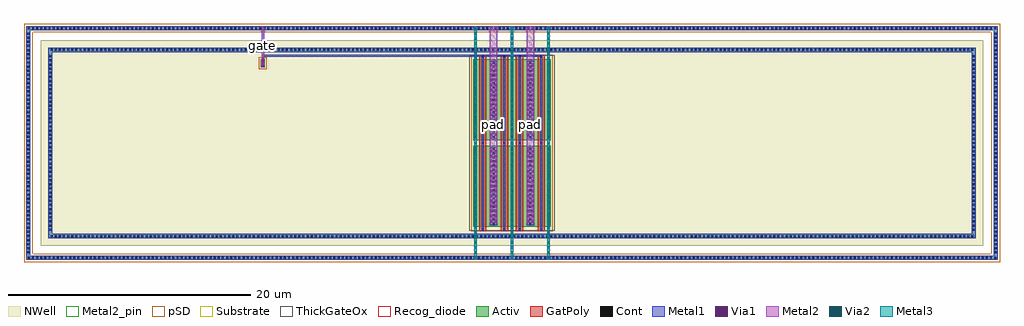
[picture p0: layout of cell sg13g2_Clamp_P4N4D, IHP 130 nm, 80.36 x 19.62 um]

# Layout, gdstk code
import gdstk
lib = gdstk.Library(unit=1e-6, precision=1e-09)
def R(c, l, rs):  # rectangles x0, y0, x1, y1
    for r in rs: c.add(gdstk.rectangle(r[:2], r[2:], *l))
def A(c, l, x, y, w, h, nx, ny, dx, dy):  # array of equal rectangles
    R(c, l, [(x+i*dx, y+j*dy, x+i*dx+w, y+j*dy+h) for i in range(nx) for j in range(ny)])
def P(c, l, *ps):  # polygons
    for p in ps: c.add(gdstk.Polygon(p, *l))
Activ = (1, 0)
GatPoly = (5, 0)
Cont = (6, 0)
Metal1 = (8, 0)
Metal2 = (10, 0)
Metal2_pin = (10, 2)
pSD = (14, 0)
Via1 = (19, 0)
Via2 = (29, 0)
Metal3 = (30, 0)
NWell = (31, 0)
Substrate = (40, 0)
ThickGateOx = (44, 0)
Recog_diode = (99, 31)

sg13g2_guardring_p16000w = lib.new_cell('sg13g2_GuardRing_P16000W3852HFF')
P(sg13g2_guardring_p16000w, Activ, [(-40,-9.63),(-40,9.29),(-39.66,9.29),(-39.66,-9.29),(39.66,-9.29),(39.66,9.29),(-40,9.29),(-40,9.63),(40,9.63),(40,-9.63)])
A(sg13g2_guardring_p16000w, Cont, -39.86, -9.54, 0.16, 0.16, 235, 2, 0.34, 18.92)
A(sg13g2_guardring_p16000w, Cont, -39.91, -9.09, 0.16, 0.16, 1, 54, 0, 0.34)
A(sg13g2_guardring_p16000w, Cont, 39.75, -9.09, 0.16, 0.16, 1, 54, 0, 0.34)
P(sg13g2_guardring_p16000w, Metal1, [(-40,-9.63),(-40,9.29),(-39.66,9.29),(-39.66,-9.29),(39.66,-9.29),(39.66,9.29),(-40,9.29),(-40,9.63),(40,9.63),(40,-9.63)])
P(sg13g2_guardring_p16000w, pSD, [(-40.18,-9.81),(-40.18,9.11),(-39.48,9.11),(-39.48,-9.11),(39.48,-9.11),(39.48,9.11),(-40.18,9.11),(-40.18,9.81),(40.18,9.81),(40.18,-9.81)])
P(sg13g2_guardring_p16000w, Substrate, [(-40,-9.63),(-40,9.29),(-39.66,9.29),(-39.66,-9.29),(39.66,-9.29),(39.66,9.29),(-40,9.29),(-40,9.63),(40,9.63),(40,-9.63)])
sg13g2_guardring_p16000w.add(gdstk.Label('sub!', (-39.83,-9.46), layer=63, texttype=0))

sg13g2_guardring_n15280w = lib.new_cell('sg13g2_GuardRing_N15280W3132HTF')
P(sg13g2_guardring_n15280w, Activ, [(-38.2,-7.83),(-38.2,7.49),(-37.86,7.49),(-37.86,-7.49),(37.86,-7.49),(37.86,7.49),(-38.2,7.49),(-38.2,7.83),(38.2,7.83),(38.2,-7.83)])
A(sg13g2_guardring_n15280w, Cont, -37.99, -7.74, 0.16, 0.16, 224, 2, 0.34, 15.32)
A(sg13g2_guardring_n15280w, Cont, -38.11, -7.22, 0.16, 0.16, 1, 43, 0, 0.34)
A(sg13g2_guardring_n15280w, Cont, 37.95, -7.22, 0.16, 0.16, 1, 43, 0, 0.34)
P(sg13g2_guardring_n15280w, Metal1, [(-38.2,-7.83),(-38.2,7.49),(-37.86,7.49),(-37.86,-7.49),(37.86,-7.49),(37.86,7.49),(-38.2,7.49),(-38.2,7.83),(38.2,7.83),(38.2,-7.83)])
R(sg13g2_guardring_n15280w, NWell, [(-38.82,-8.45,38.82,8.45)])

sg13g2_clamp_p4n4d = lib.new_cell('sg13g2_Clamp_P4N4D')
R(sg13g2_clamp_p4n4d, Activ, [(36.83,2.75,43.17,9.41), (36.83,9.85,43.17,16.51), (19.335,15.87,19.635,16.51)])
R(sg13g2_clamp_p4n4d, GatPoly, [(37.3,2.38,37.9,16.88), (39.08,2.38,39.68,16.88), (40.32,2.38,40.92,16.88), (42.1,2.38,42.7,16.88)])
A(sg13g2_clamp_p4n4d, Cont, 37.52, 2.45, 0.16, 0.16, 1, 3, 0, 7.1)
A(sg13g2_clamp_p4n4d, Cont, 39.3, 2.45, 0.16, 0.16, 1, 3, 0, 7.1)
A(sg13g2_clamp_p4n4d, Cont, 40.54, 2.45, 0.16, 0.16, 1, 3, 0, 7.1)
A(sg13g2_clamp_p4n4d, Cont, 42.32, 2.45, 0.16, 0.16, 1, 3, 0, 7.1)
A(sg13g2_clamp_p4n4d, Cont, 36.9, 2.94, 0.16, 0.16, 5, 19, 1.51, 0.34)
A(sg13g2_clamp_p4n4d, Cont, 36.9, 10.04, 0.16, 0.16, 5, 19, 1.51, 0.34)
R(sg13g2_clamp_p4n4d, Cont, [(19.405,15.94,19.565,16.1), (19.405,16.28,19.565,16.44)])
A(sg13g2_clamp_p4n4d, Metal1, 36.875, 1.8, 0.21, 0.34, 3, 2, 3.02, 15.32)
A(sg13g2_clamp_p4n4d, Metal1, 36.875, 2.86, 0.21, 6.44, 3, 2, 3.02, 7.1)
R(sg13g2_clamp_p4n4d, Metal1, [(38.18,2.86,38.8,9.3), (41.2,2.86,41.82,9.3), (38.18,9.96,38.8,16.4), (41.2,9.96,41.82,16.4)])
P(sg13g2_clamp_p4n4d, Metal1, [(37.52,2.37),(37.52,16.73),(19.59,16.73),(19.59,15.86),(19.38,15.86),(19.38,16.89),(42.48,16.89),(42.48,2.37),(42.32,2.37),(42.32,16.73),(40.7,16.73),(40.7,2.37),(40.54,2.37),(40.54,16.73),(39.46,16.73),(39.46,2.37),(39.3,2.37),(39.3,16.73),(37.68,16.73),(37.68,2.37)])
A(sg13g2_clamp_p4n4d, Metal2, 36.88, 0, 0.2, 19.26, 3, 1, 3.02, 0)
R(sg13g2_clamp_p4n4d, Metal2, [(38.185,3.065,38.795,19.26), (41.205,3.065,41.815,19.26), (19.385,16.025,19.585,19.26)])
R(sg13g2_clamp_p4n4d, Metal2_pin, [(38.185,3.065,38.795,19.26), (41.205,3.065,41.815,19.26), (19.385,16.025,19.585,19.26)])
R(sg13g2_clamp_p4n4d, pSD, [(36.65,2.35,43.35,16.91), (19.155,15.69,19.815,16.69)])
A(sg13g2_clamp_p4n4d, Via1, 36.885, 1.875, 0.19, 0.19, 3, 2, 3.02, 15.32)
A(sg13g2_clamp_p4n4d, Via1, 36.885, 3.115, 0.19, 0.19, 1, 15, 0, 0.41)
A(sg13g2_clamp_p4n4d, Via1, 38.19, 3.115, 0.19, 0.19, 1, 15, 0, 0.41)
A(sg13g2_clamp_p4n4d, Via1, 38.6, 3.115, 0.19, 0.19, 3, 15, 1.305, 0.41)
A(sg13g2_clamp_p4n4d, Via1, 41.62, 3.115, 0.19, 0.19, 1, 15, 0, 0.41)
A(sg13g2_clamp_p4n4d, Via1, 42.925, 3.115, 0.19, 0.19, 1, 15, 0, 0.41)
A(sg13g2_clamp_p4n4d, Via1, 36.885, 10.215, 0.19, 0.19, 1, 15, 0, 0.41)
A(sg13g2_clamp_p4n4d, Via1, 38.19, 10.215, 0.19, 0.19, 1, 15, 0, 0.41)
A(sg13g2_clamp_p4n4d, Via1, 38.6, 10.215, 0.19, 0.19, 3, 15, 1.305, 0.41)
A(sg13g2_clamp_p4n4d, Via1, 41.62, 10.215, 0.19, 0.19, 1, 15, 0, 0.41)
A(sg13g2_clamp_p4n4d, Via1, 42.925, 10.215, 0.19, 0.19, 1, 15, 0, 0.41)
R(sg13g2_clamp_p4n4d, Via1, [(19.39,16.075,19.58,16.265), (19.39,16.485,19.58,16.675)])
A(sg13g2_clamp_p4n4d, Via2, 36.885, 0.105, 0.19, 0.19, 3, 47, 3.02, 0.41)
A(sg13g2_clamp_p4n4d, Metal3, 36.88, 0.055, 0.2, 19.15, 3, 1, 3.02, 0)
R(sg13g2_clamp_p4n4d, NWell, [(36.21,2.13,43.79,17.13), (18.715,15.25,20.255,17.13)])
R(sg13g2_clamp_p4n4d, ThickGateOx, [(36.49,2.41,43.51,16.85)])
R(sg13g2_clamp_p4n4d, Recog_diode, [(19.315,15.85,19.655,16.53)])
sg13g2_clamp_p4n4d.add(gdstk.Reference(sg13g2_guardring_p16000w, (40,9.63)))
sg13g2_clamp_p4n4d.add(gdstk.Reference(sg13g2_guardring_n15280w, (40,9.63)))
sg13g2_clamp_p4n4d.add(gdstk.Label('pad', (41.51,11.163), layer=10, texttype=25))
sg13g2_clamp_p4n4d.add(gdstk.Label('pad', (38.49,11.163), layer=10, texttype=25))
sg13g2_clamp_p4n4d.add(gdstk.Label('gate', (19.485,17.643), layer=10, texttype=25))

lib.write_gds('sg13g2_Clamp_P4N4D.gds')
